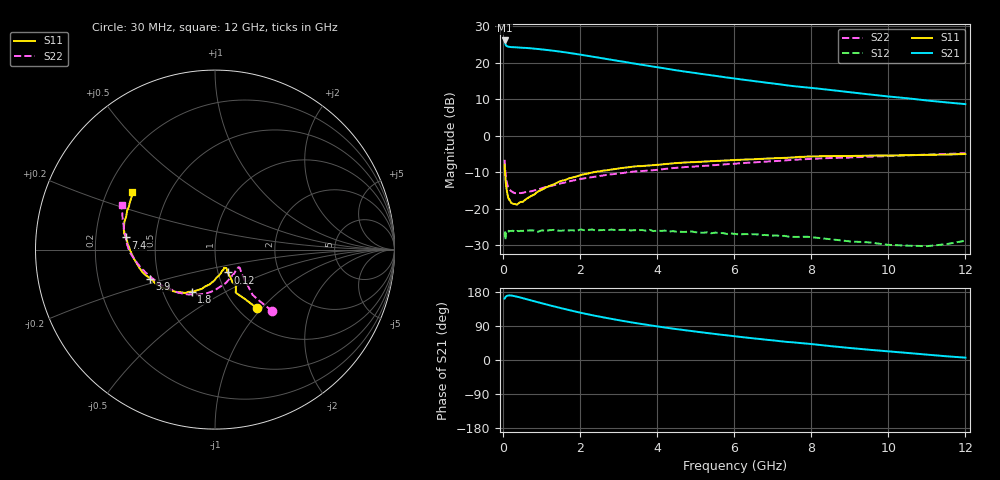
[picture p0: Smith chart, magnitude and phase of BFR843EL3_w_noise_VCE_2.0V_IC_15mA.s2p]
! Infineon Technologies  Discrete & RF Semiconductors
! BFR843EL3
! VCE =  2.0 V,  IC =  15 mA
! Common Emitter S-Parameters:  Aug 2013
# GHz  S  MA  R  50
!  f  S11  S21  S12  S22
! GHz  MAG  ANG  MAG  ANG  MAG  ANG  MAG  ANG
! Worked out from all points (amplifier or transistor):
!   103 points, 30 MHz to 12 GHz, reference 50 ohm
!   highest |S21| = 26.1 dB at 30 MHz (marker M1)
!   |S21| within 3 dB of that: start of sweep to 1.429 GHz
!   unconditionally stable (mu >= 1): 277.6 MHz to 331.2 MHz; 4.641 GHz to end of sweep
!   at 400 MHz: K = 1.00, MSG = 25.2 dB, |S12| = -26.1 dB
!   at 3.7 GHz: K = 0.93, MSG = 22.7 dB, |S12| = -26.0 dB
!   at 12 GHz: K = 2.40, MAG = 12.1 dB, |S12| = -28.8 dB
!   lowest NFmin = 0.99 dB at 900 MHz
!   S11 on the Smith chart (normalised r, x): 30 MHz: 1.21, -0.94; 120 MHz: 1.11, -0.29; 1.8 GHz: 0.70, -0.35; 3.9 GHz: 0.45, -0.17; 7.4 GHz: 0.33, +0.06; 12 GHz: 0.30, +0.29
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0.03  0.401 -54.4  20.25 162.1  0.0441 29.7  0.4685 -47.0
0.04  0.3218 -58.8  18.93 163.7  0.0474 22.4  0.3822 -49.0
0.06  0.2297 -59.6  17.57 166.8  0.0432 19.9  0.287 -48.5
0.08  0.1893 -61.3  17.06 168.7  0.0478 12.0  0.2386 -46.2
0.12  0.1457 -60.7  16.69 170.1  0.0484 8.1  0.1967 -40.9
0.15  0.1346 -59.0  16.54 170.5  0.0495 4.5  0.1842 -39.1
0.25  0.1167 -61.2  16.38 169.3  0.05 4.2  0.1676 -36.2
0.7  0.1476 -82.0  15.83 157.8  0.0506 1.5  0.1725 -55.4
1.2  0.2061 -102.7  14.85 144.3  0.0508 1.4  0.2034 -78.1
1.5  0.2411 -111.7  14.17 136.7  0.05 1.7  0.2235 -89.4
1.8  0.2683 -119.2  13.44 129.5  0.0507 1.5  0.2433 -98.6
2.1  0.2976 -126.1  12.67 122.6  0.0509 0.7  0.2609 -107.6
2.6  0.3337 -136.5  11.48 112.4  0.0512 0.1  0.2865 -119.2
3  0.3573 -143.2  10.58 105.0  0.0511 -1.3  0.3056 -126.7
3.9  0.3962 -155.9  8.858 90.2  0.0494 -3.1  0.3378 -141.0
4.1  0.4038 -158.2  8.533 87.2  0.0497 -3.6  0.3459 -143.1
5.1  0.4397 -169.0  7.094 73.6  0.047 -4.3  0.3829 -155.2
6.1  0.4686 -178.0  5.998 61.6  0.0446 -4.9  0.4184 -164.5
7.4  0.5008 172.2  4.888 47.5  0.0415 -3.4  0.463 -175.6
8.5  0.5278 162.9  4.241 36.6  0.0382 -2.9  0.4961 174.9
10.5  0.5418 151.3  3.264 18.6  0.0312 12.7  0.5405 162.2
12  0.5626 145.3  2.715 6.2  0.0365 31.5  0.5756 154.7
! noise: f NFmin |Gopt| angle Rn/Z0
0.45  1  0.06  107  0.12
0.9  0.99  0.07  113  0.12
1.5  1.01  0.08  117  0.11
1.9  1.02  0.08  121  0.11
2.4  1.03  0.09  126  0.11
3.5  1.05  0.12  140  0.1
5.5  1.09  0.18  162  0.1
8  1.14  0.3  190  0.07
10  1.18  0.42  217  0.07
